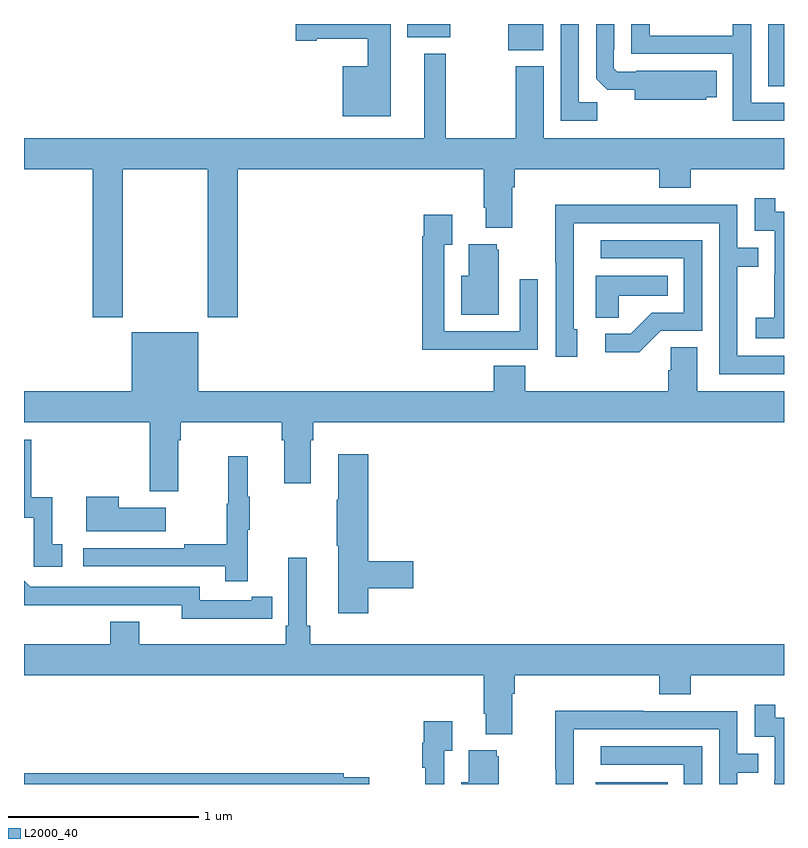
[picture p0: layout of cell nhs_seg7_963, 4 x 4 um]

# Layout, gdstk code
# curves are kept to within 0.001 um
import gdstk
lib = gdstk.Library(unit=1e-6, precision=1e-09)
def R(c, l, rs):  # rectangles x0, y0, x1, y1
    for r in rs: c.add(gdstk.rectangle(r[:2], r[2:], *l))
def P(c, l, *ps):  # polygons
    for p in ps: c.add(gdstk.Polygon(p, *l))
L2000_40 = (2000, 40)

nhs_seg7_963 = lib.new_cell('nhs_seg7_963')
R(nhs_seg7_963, L2000_40, [(184.01,1044,184.388,1044.01), (184.917,1047.673,185,1048), (183.548,1047.863,183.733,1048), (183.017,1047.929,183.244,1048)])
P(nhs_seg7_963, L2000_40, [(184.017,1047.587),(183.921,1047.587),(183.921,1048),(183.825,1048),(183.825,1047.492),(184.017,1047.492)],
  [(182.929,1048),(182.43,1048),(182.43,1047.911),(182.542,1047.911),(182.542,1047.923),(182.808,1047.923),(182.808,1047.778),(182.678,1047.778),(182.678,1047.515),(182.929,1047.515)],
  [(185,1047.585),(184.827,1047.585),(184.827,1048),(184.729,1048),(184.729,1047.939),(184.293,1047.939),(184.293,1048),(184.197,1048),(184.197,1047.843),(184.731,1047.843),(184.731,1047.492),(185,1047.492)],
  [(184.59,1047.614),(184.646,1047.614),(184.646,1047.754),(184.222,1047.754),(184.222,1047.75),(184.122,1047.75),(184.104,1047.768),(184.104,1047.868),(184.107,1047.868),(184.107,1048),(184.011,1048),(184.011,1047.712),(184.07,1047.653),(184.214,1047.653),(184.214,1047.602),(184.59,1047.602)],
  [(181.521,1047.236),(181.966,1047.236),(181.966,1046.457),(182.126,1046.457),(182.126,1047.236),(183.419,1047.236),(183.419,1047.034),(183.431,1047.034),(183.431,1046.927),(183.571,1046.927),(183.571,1047.14),(183.584,1047.14),(183.584,1047.236),(184.343,1047.236),(184.343,1047.137),(184.508,1047.137),(184.508,1047.236),(185,1047.236),(185,1047.4),(183.736,1047.4),(183.736,1047.778),(183.589,1047.778),(183.589,1047.4),(183.221,1047.4),(183.221,1047.844),(183.107,1047.844),(183.107,1047.4),(181,1047.4),(181,1047.236),(181.361,1047.236),(181.361,1046.457),(181.521,1046.457)],
  [(185,1047.012),(184.954,1047.012),(184.954,1047.082),(184.845,1047.082),(184.845,1046.913),(184.95,1046.913),(184.95,1046.684),(184.949,1046.684),(184.949,1046.455),(184.851,1046.455),(184.851,1046.345),(185,1046.345)],
  [(185,1046.253),(184.755,1046.253),(184.755,1046.722),(184.865,1046.722),(184.865,1046.823),(184.755,1046.823),(184.755,1047.048),(184.259,1047.048),(184.259,1047.05),(183.796,1047.05),(183.796,1046.743),(183.798,1046.743),(183.798,1046.25),(183.913,1046.25),(183.913,1046.394),(183.894,1046.394),(183.894,1046.952),(184.659,1046.952),(184.659,1046.157),(185,1046.157)],
  [(183.389,1046.286),(183.705,1046.286),(183.705,1046.656),(183.609,1046.656),(183.609,1046.382),(183.213,1046.382),(183.213,1046.839),(183.253,1046.839),(183.253,1046.995),(183.105,1046.995),(183.105,1046.882),(183.097,1046.882),(183.097,1046.285),(183.389,1046.285)],
  [(184.35,1046.385),(184.569,1046.385),(184.569,1046.862),(184.035,1046.862),(184.035,1046.766),(184.473,1046.766),(184.473,1046.481),(184.304,1046.481),(184.193,1046.37),(184.059,1046.37),(184.059,1046.273),(184.237,1046.273)],
  [(183.499,1046.811),(183.488,1046.811),(183.488,1046.842),(183.341,1046.842),(183.341,1046.674),(183.302,1046.674),(183.302,1046.471),(183.499,1046.471)],
  [(184.131,1046.57),(184.388,1046.57),(184.388,1046.674),(184.01,1046.674),(184.01,1046.455),(184.131,1046.455)],
  [(181.813,1045.808),(181.826,1045.808),(181.826,1045.904),(182.357,1045.904),(182.357,1045.808),(182.369,1045.808),(182.369,1045.584),(182.509,1045.584),(182.509,1045.808),(182.522,1045.808),(182.522,1045.904),(185,1045.904),(185,1046.068),(184.543,1046.068),(184.543,1046.3),(184.404,1046.3),(184.404,1046.177),(184.391,1046.177),(184.391,1046.068),(183.638,1046.068),(183.638,1046.201),(183.473,1046.201),(183.473,1046.068),(181.918,1046.068),(181.918,1046.377),(181.568,1046.377),(181.568,1046.068),(181,1046.068),(181,1045.904),(181.661,1045.904),(181.661,1045.542),(181.813,1045.542)],
  [(181.201,1045.263),(181.148,1045.263),(181.148,1045.51),(181.037,1045.51),(181.037,1045.812),(181,1045.812),(181,1045.401),(181.05,1045.401),(181.05,1045.143),(181.201,1045.143)],
  [(182.813,1045.03),(183.049,1045.03),(183.049,1045.172),(182.813,1045.172),(182.813,1045.735),(182.654,1045.735),(182.654,1045.496),(182.647,1045.496),(182.647,1045.255),(182.654,1045.255),(182.654,1044.9),(182.813,1044.9)],
  [(182.177,1045.339),(182.188,1045.339),(182.188,1045.513),(182.177,1045.513),(182.177,1045.726),(182.074,1045.726),(182.074,1045.476),(182.067,1045.476),(182.067,1045.262),(181.843,1045.262),(181.843,1045.242),(181.311,1045.242),(181.311,1045.146),(182.059,1045.146),(182.059,1045.068),(182.177,1045.068)],
  [(181.747,1045.453),(181.499,1045.453),(181.499,1045.513),(181.328,1045.513),(181.328,1045.331),(181.747,1045.331)],
  [(182.198,1044.87),(182.306,1044.87),(182.306,1044.986),(182.198,1044.986),(182.198,1044.966),(181.926,1044.966),(181.926,1045.038),(181.032,1045.038),(181,1045.07),(181,1044.941),(181.83,1044.942),(181.83,1044.869)],
  [(182.507,1044.832),(182.488,1044.832),(182.488,1045.192),(182.391,1045.192),(182.391,1044.832),(182.378,1044.832),(182.378,1044.736),(181.606,1044.736),(181.606,1044.853),(181.454,1044.853),(181.454,1044.736),(181,1044.736),(181,1044.572),(183.419,1044.572),(183.419,1044.37),(183.431,1044.37),(183.431,1044.263),(183.571,1044.263),(183.571,1044.476),(183.584,1044.476),(183.584,1044.572),(184.343,1044.572),(184.343,1044.473),(184.508,1044.473),(184.508,1044.572),(185,1044.572),(185,1044.736),(182.507,1044.736)],
  [(185,1044.348),(184.954,1044.348),(184.954,1044.418),(184.845,1044.418),(184.845,1044.249),(184.95,1044.249),(184.95,1044.02),(184.949,1044.02),(184.949,1044),(185,1044)],
  [(183.894,1044.288),(184.659,1044.288),(184.659,1044),(184.755,1044),(184.755,1044.058),(184.865,1044.058),(184.865,1044.159),(184.755,1044.159),(184.755,1044.384),(184.259,1044.384),(184.259,1044.386),(183.796,1044.386),(183.796,1044.079),(183.798,1044.079),(183.798,1044),(183.894,1044)],
  [(183.213,1044.175),(183.253,1044.175),(183.253,1044.331),(183.105,1044.331),(183.105,1044.218),(183.097,1044.218),(183.097,1044.086),(183.112,1044.086),(183.112,1044),(183.213,1044)],
  [(184.569,1044.198),(184.035,1044.198),(184.035,1044.102),(184.473,1044.102),(184.473,1044),(184.569,1044)],
  [(183.499,1044.147),(183.488,1044.147),(183.488,1044.178),(183.341,1044.178),(183.341,1044.01),(183.302,1044.01),(183.302,1044),(183.499,1044)],
  [(182.818,1044.036),(182.684,1044.036),(182.684,1044.056),(181,1044.056),(181,1044),(182.818,1044)])

lib.write_gds('nhs_seg7_963.gds')
